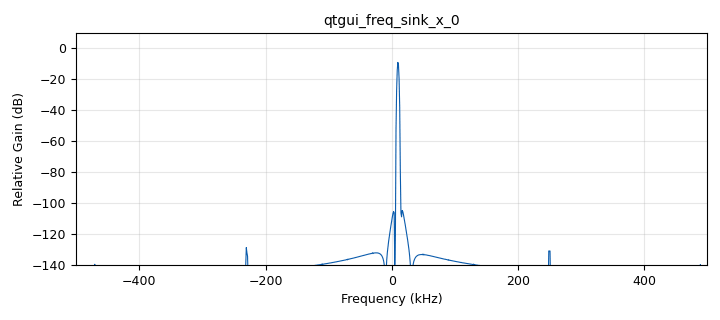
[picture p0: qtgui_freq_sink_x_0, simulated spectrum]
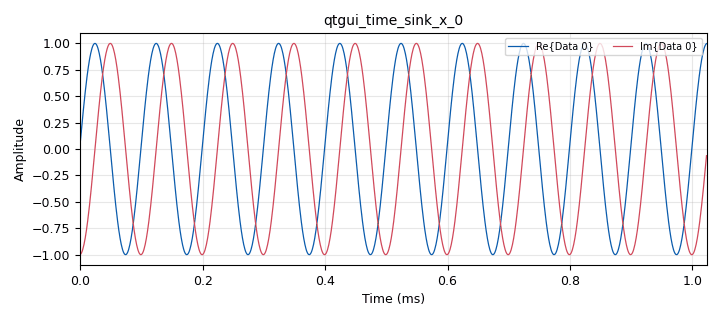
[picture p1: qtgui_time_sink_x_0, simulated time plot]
options:
  parameters:
    generate_options: qt_gui
    id: Practica1_AndresFlores
    output_language: python
    title: Practica1_AndresFlores
  states: {}

blocks:
- name: samp_rate
  id: variable
  parameters:
    value: 1e6
  states: {}
- name: analog_sig_source_x_0
  id: analog_sig_source_x
  parameters:
    amp: '1'
    freq: '10000'
    offset: '0'
    phase: '0'
    samp_rate: samp_rate
    type: complex
    waveform: analog.GR_COS_WAVE
  states: {}
- name: blocks_file_sink_0
  id: blocks_file_sink
  parameters:
    file: C:\Users\20242\Desktop\Practica1Parte2.dat
    type: complex
  states: {state: disabled}
- name: qtgui_freq_sink_x_0
  id: qtgui_freq_sink_x
  parameters:
    bw: samp_rate
    fc: '0'
    fftsize: '1024'
    type: complex
  states: {}
- name: qtgui_time_sink_x_0
  id: qtgui_time_sink_x
  parameters:
    autoscale: 'True'
    ctrlpanel: 'True'
    grid: 'True'
    size: '1024'
    srate: samp_rate
    type: complex
    ymax: '2'
    ymin: '-2'
  states: {}
- name: virtual_sink_0
  id: virtual_sink
  parameters: {}
  states: {}
- name: virtual_source_0
  id: virtual_source
  parameters: {}
  states: {}

connections:
- [analog_sig_source_x_0, '0', virtual_sink_0, '0']
- [virtual_source_0, '0', blocks_file_sink_0, '0']
- [virtual_source_0, '0', qtgui_freq_sink_x_0, '0']
- [virtual_source_0, '0', qtgui_time_sink_x_0, '0']

metadata:
  file_format: 1
  grc_version: 3.10.8.0
